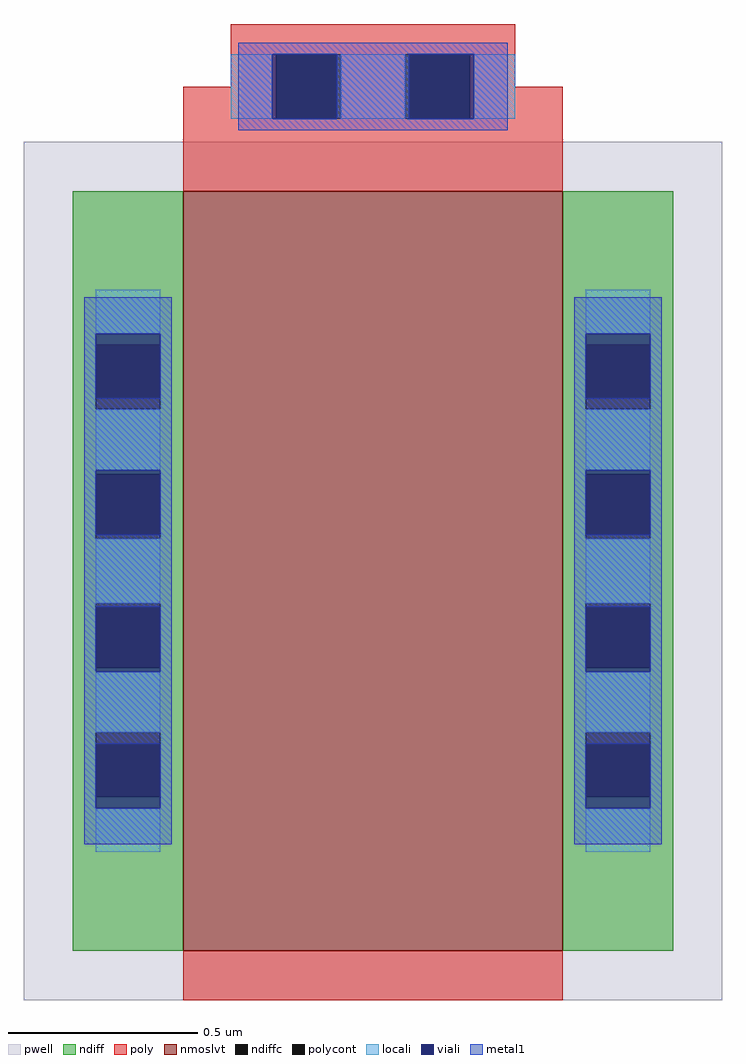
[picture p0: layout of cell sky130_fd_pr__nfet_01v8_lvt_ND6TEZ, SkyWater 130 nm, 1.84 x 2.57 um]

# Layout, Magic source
magic
tech sky130A
magscale 1 2
<< pwell >>
rect -184 -257 184 195
<< nmoslvt >>
rect -100 -231 100 169
<< ndiff >>
rect -158 88 -100 169
rect -158 54 -146 88
rect -112 54 -100 88
rect -158 20 -100 54
rect -158 -14 -146 20
rect -112 -14 -100 20
rect -158 -48 -100 -14
rect -158 -82 -146 -48
rect -112 -82 -100 -48
rect -158 -116 -100 -82
rect -158 -150 -146 -116
rect -112 -150 -100 -116
rect -158 -231 -100 -150
rect 100 88 158 169
rect 100 54 112 88
rect 146 54 158 88
rect 100 20 158 54
rect 100 -14 112 20
rect 146 -14 158 20
rect 100 -48 158 -14
rect 100 -82 112 -48
rect 146 -82 158 -48
rect 100 -116 158 -82
rect 100 -150 112 -116
rect 146 -150 158 -116
rect 100 -231 158 -150
<< ndiffc >>
rect -146 54 -112 88
rect -146 -14 -112 20
rect -146 -82 -112 -48
rect -146 -150 -112 -116
rect 112 54 146 88
rect 112 -14 146 20
rect 112 -82 146 -48
rect 112 -150 146 -116
<< poly >>
rect -75 241 75 257
rect -75 224 -51 241
rect -100 207 -51 224
rect -17 207 17 241
rect 51 224 75 241
rect 51 207 100 224
rect -100 169 100 207
rect -100 -257 100 -231
<< polycont >>
rect -51 207 -17 241
rect 17 207 51 241
<< locali >>
rect -75 207 -53 241
rect -17 207 17 241
rect 53 207 75 241
rect -146 94 -112 117
rect -146 22 -112 54
rect -146 -48 -112 -14
rect -146 -116 -112 -84
rect -146 -179 -112 -156
rect 112 94 146 117
rect 112 22 146 54
rect 112 -48 146 -14
rect 112 -116 146 -84
rect 112 -179 146 -156
<< viali >>
rect -53 207 -51 241
rect -51 207 -19 241
rect 19 207 51 241
rect 51 207 53 241
rect -146 88 -112 94
rect -146 60 -112 88
rect -146 20 -112 22
rect -146 -12 -112 20
rect -146 -82 -112 -50
rect -146 -84 -112 -82
rect -146 -150 -112 -122
rect -146 -156 -112 -150
rect 112 88 146 94
rect 112 60 146 88
rect 112 20 146 22
rect 112 -12 146 20
rect 112 -82 146 -50
rect 112 -84 146 -82
rect 112 -150 146 -122
rect 112 -156 146 -150
<< metal1 >>
rect -71 241 71 247
rect -71 207 -53 241
rect -19 207 19 241
rect 53 207 71 241
rect -71 201 71 207
rect -152 94 -106 113
rect -152 60 -146 94
rect -112 60 -106 94
rect -152 22 -106 60
rect -152 -12 -146 22
rect -112 -12 -106 22
rect -152 -50 -106 -12
rect -152 -84 -146 -50
rect -112 -84 -106 -50
rect -152 -122 -106 -84
rect -152 -156 -146 -122
rect -112 -156 -106 -122
rect -152 -175 -106 -156
rect 106 94 152 113
rect 106 60 112 94
rect 146 60 152 94
rect 106 22 152 60
rect 106 -12 112 22
rect 146 -12 152 22
rect 106 -50 152 -12
rect 106 -84 112 -50
rect 146 -84 152 -50
rect 106 -122 152 -84
rect 106 -156 112 -122
rect 146 -156 152 -122
rect 106 -175 152 -156
<< end >>
